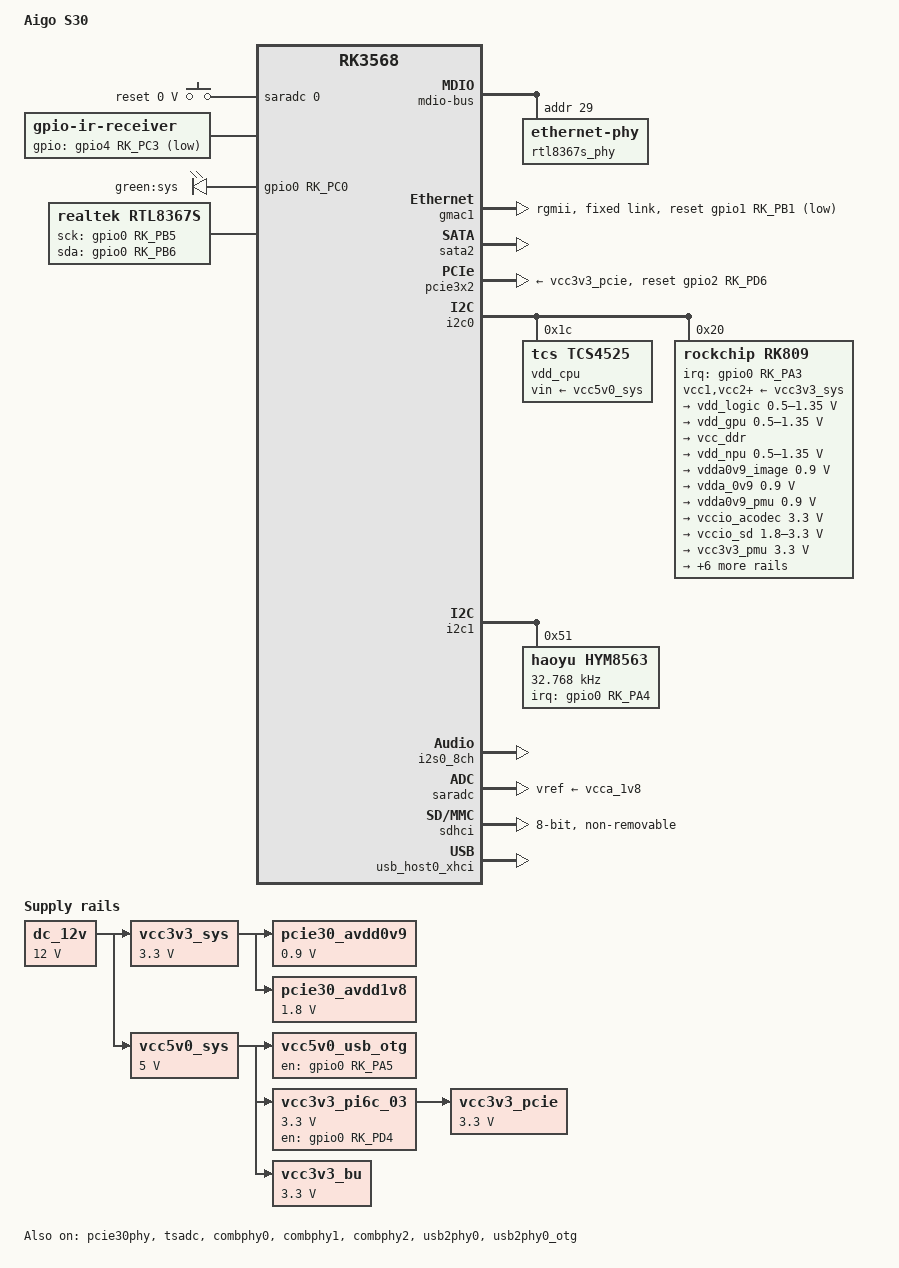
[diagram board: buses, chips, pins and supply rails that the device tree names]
// SPDX-License-Identifier: (GPL-2.0+ OR MIT)
/*
 * Copyright (c) 2020 Rockchip Electronics Co., Ltd.
 *
 */

/dts-v1/;

#include <dt-bindings/gpio/gpio.h>
#include <dt-bindings/input/input.h>
#include <dt-bindings/leds/common.h>
#include <dt-bindings/pinctrl/rockchip.h>
#include <rockchip/rk3568.dtsi>

#include "rk3568-ip.dtsi"
#include "rk3568-ramoops.dtsi"

/ {
	model = "Aigo S30";
	compatible = "linkfog,ala2", "rockchip,rk3568";

	/*
	 * iStoreOS 专有属性：eth_order 决定用户态/交换机端口命名顺序，
	 * hwmodel_id / kdebug 供 iStoreOS 机型识别与调试开关使用。
	 * 22.03 里这些由内核补丁或平台代码隐式给出，24.10 需在 DTS 中显式声明。
	 */
	eth_order = "fe2a0000.ethernet";
	kdebug = "0";
	hwmodel_id = "ALA2";
	/* 本机无 HDMI/显示输出，因此不声明 hw_support = "hdmi" */

	aliases {
		mmc0 = &sdhci;		/* eMMC */

		ethernet0 = &gmac1;	/* 交换机上联口 */
		/delete-property/ ethernet1;

		led-boot = &sys_led;
		led-failsafe = &sys_led;
		led-running = &sys_led;
		led-upgrade = &sys_led;
	};

	/* 24.10 用 chosen/stdout-path 取代厂商内核的 fiq-debugger */
	chosen: chosen {
		stdout-path = "serial2:1500000n8";
	};

	dc_12v: dc-12v {
		compatible = "regulator-fixed";
		regulator-name = "dc_12v";
		regulator-always-on;
		regulator-boot-on;
		regulator-min-microvolt = <12000000>;
		regulator-max-microvolt = <12000000>;
	};

	vcc3v3_sys: vcc3v3-sys {
		compatible = "regulator-fixed";
		regulator-name = "vcc3v3_sys";
		regulator-always-on;
		regulator-boot-on;
		regulator-min-microvolt = <3300000>;
		regulator-max-microvolt = <3300000>;
		vin-supply = <&dc_12v>;
	};

	vcc5v0_sys: vcc5v0-sys {
		compatible = "regulator-fixed";
		regulator-name = "vcc5v0_sys";
		regulator-always-on;
		regulator-boot-on;
		regulator-min-microvolt = <5000000>;
		regulator-max-microvolt = <5000000>;
		vin-supply = <&dc_12v>;
	};

	vcc5v0_usb_otg: vcc5v0-usb-otg {
		compatible = "regulator-fixed";
		enable-active-high;
		gpio = <&gpio0 RK_PA5 GPIO_ACTIVE_HIGH>;
		pinctrl-names = "default";
		pinctrl-0 = <&vcc5v0_otg_en>;
		regulator-name = "vcc5v0_usb_otg";
		vin-supply = <&vcc5v0_sys>;
	};

	pcie30_avdd0v9: pcie30-avdd0v9 {
		compatible = "regulator-fixed";
		regulator-name = "pcie30_avdd0v9";
		regulator-always-on;
		regulator-boot-on;
		regulator-min-microvolt = <900000>;
		regulator-max-microvolt = <900000>;
		vin-supply = <&vcc3v3_sys>;
	};

	pcie30_avdd1v8: pcie30-avdd1v8 {
		compatible = "regulator-fixed";
		regulator-name = "pcie30_avdd1v8";
		regulator-always-on;
		regulator-boot-on;
		regulator-min-microvolt = <1800000>;
		regulator-max-microvolt = <1800000>;
		vin-supply = <&vcc3v3_sys>;
	};

	vcc3v3_pi6c_03: vcc3v3-pi6c-03 {
		compatible = "regulator-fixed";
		regulator-name = "vcc3v3_pi6c_03";
		pinctrl-names = "default";
		pinctrl-0 = <&vcc3v3_pi6c_03_en>;
		regulator-always-on;
		regulator-boot-on;
		enable-active-high;
		regulator-min-microvolt = <3300000>;
		regulator-max-microvolt = <3300000>;
		vin-supply = <&vcc5v0_sys>;
		gpio = <&gpio0 RK_PD4 GPIO_ACTIVE_HIGH>;
	};

	vcc3v3_pcie: vcc3v3-pcie {
		compatible = "regulator-fixed";
		regulator-name = "vcc3v3_pcie";
		regulator-always-on;
		regulator-boot-on;
		regulator-min-microvolt = <3300000>;
		regulator-max-microvolt = <3300000>;
		vin-supply = <&vcc3v3_pi6c_03>;
	};

	vcc3v3_bu: vcc3v3-bu {
		compatible = "regulator-fixed";
		regulator-name = "vcc3v3_bu";
		regulator-always-on;
		regulator-boot-on;
		regulator-min-microvolt = <3300000>;
		regulator-max-microvolt = <3300000>;
		vin-supply = <&vcc5v0_sys>;
	};

	adc_keys: adc-keys {
		compatible = "adc-keys";
		io-channels = <&saradc 0>;
		io-channel-names = "buttons";
		keyup-threshold-microvolt = <1800000>;
		poll-interval = <100>;

		button-reset {
			label = "reset";
			linux,code = <KEY_RESTART>;
			press-threshold-microvolt = <9>;
		};
	};

	ir-receiver {
		compatible = "gpio-ir-receiver";
		gpios = <&gpio4 RK_PC3 GPIO_ACTIVE_LOW>;
		pinctrl-names = "default";
		pinctrl-0 = <&ir_receiver_pin>;
	};

	leds {
		compatible = "gpio-leds";
		pinctrl-names = "default";
		pinctrl-0 = <&led_sys>;

		sys_led: sys {
			gpios = <&gpio0 RK_PC0 GPIO_ACTIVE_HIGH>;
			label = "green:sys";
		};
	};

	/*
	 * RTL8367S 交换机（swconfig 驱动 kmod-switch-rtl8367b）。
	 * 22.03 与 24.10 使用同一个驱动包，绑定属性保持一致：
	 *   cpu_port / realtek,extifN / gpio-sck / gpio-sda / mdio-bus
	 * 其中 SMI 管理口通过 gpio0 PB5/PB6 软件模拟（见 gmac1_mdio_gpio）。
	 */
	rtl8367s {
		compatible = "realtek,rtl8367s", "realtek,rtl8367c", "realtek,rtl8367b";
		cpu_port = <7>;
		cpu-port = <7>;
		realtek,extif2 = <1 0 1 1 1 1 1 1 2>;
		pinctrl-names = "default";
		pinctrl-0 = <&gmac1_mdio_gpio>;
		gpio-sck = <&gpio0 RK_PB5 GPIO_ACTIVE_HIGH>;
		gpio-sda = <&gpio0 RK_PB6 GPIO_ACTIVE_HIGH>;

		mdio-bus {
			#address-cells = <1>;
			#size-cells = <0>;
			status = "okay";

			rtl8367s_phy: ethernet-phy@29 {
				reg = <29>;
				phy-mode = "rgmii";
			};
		};
	};
};

&cpu0 {
	cpu-supply = <&vdd_cpu>;
};

&cpu1 {
	cpu-supply = <&vdd_cpu>;
};

&cpu2 {
	cpu-supply = <&vdd_cpu>;
};

&cpu3 {
	cpu-supply = <&vdd_cpu>;
};

&gmac0 {
	status = "disabled";
};

&gmac1 {
	snps,reset-gpio = <&gpio1 RK_PB1 GPIO_ACTIVE_LOW>;
	snps,reset-active-low;
	snps,reset-delays-us = <0 20000 100000>;

	phy-mode = "rgmii";
	clock_in_out = "output";

	assigned-clocks = <&cru SCLK_GMAC1_RX_TX>, <&cru SCLK_GMAC1>;
	assigned-clock-parents = <&cru SCLK_GMAC1_RGMII_SPEED>, <&cru CLK_MAC1_2TOP>;
	assigned-clock-rates = <0>, <125000000>;

	pinctrl-names = "default";
	pinctrl-0 = <&gmac1m1_miim
		     &gmac1m1_tx_bus2
		     &gmac1m1_rx_bus2
		     &gmac1m1_rgmii_clk
		     &gmac1m1_rgmii_bus>;

	tx_delay = <0x4f>;
	rx_delay = <0x0f>;
	status = "okay";

	fixed-link {
		full-duplex;
		speed = <1000>;
		pause;
	};
};

/* SATA：0xfc800000 / combphy2（22.03 的 sata2 在新内核里同名保留） */
&sata2 {
	status = "okay";
};

&pcie30phy {
	phy-supply = <&vcc3v3_pi6c_03>;
	status = "okay";
};

&pcie3x1 {
	status = "disabled";
};

&pcie3x2 {
	reset-gpios = <&gpio2 RK_PD6 GPIO_ACTIVE_HIGH>;
	vpcie3v3-supply = <&vcc3v3_pcie>;
	status = "okay";
};

&i2c0 {
	status = "okay";

	vdd_cpu: regulator@1c {
		compatible = "tcs,tcs4525";
		reg = <0x1c>;
		fcs,suspend-voltage-selector = <1>;
		regulator-name = "vdd_cpu";
		regulator-always-on;
		regulator-boot-on;
		regulator-min-microvolt = <712500>;
		regulator-max-microvolt = <1150000>;
		regulator-ramp-delay = <2300>;
		vin-supply = <&vcc5v0_sys>;

		regulator-state-mem {
			regulator-off-in-suspend;
		};
	};

	rk809: pmic@20 {
		compatible = "rockchip,rk809";
		reg = <0x20>;
		interrupt-parent = <&gpio0>;
		interrupts = <RK_PA3 IRQ_TYPE_LEVEL_LOW>;
		#clock-cells = <1>;
		pinctrl-names = "default";
		pinctrl-0 = <&pmic_int>;
		rockchip,system-power-controller;
		wakeup-source;

		vcc1-supply = <&vcc3v3_sys>;
		vcc2-supply = <&vcc3v3_sys>;
		vcc3-supply = <&vcc3v3_sys>;
		vcc4-supply = <&vcc3v3_sys>;
		vcc5-supply = <&vcc3v3_sys>;
		vcc6-supply = <&vcc3v3_sys>;
		vcc7-supply = <&vcc3v3_sys>;
		vcc8-supply = <&vcc3v3_sys>;
		vcc9-supply = <&vcc3v3_sys>;

		regulators {
			vdd_logic: DCDC_REG1 {
				regulator-always-on;
				regulator-boot-on;
				regulator-min-microvolt = <500000>;
				regulator-max-microvolt = <1350000>;
				regulator-init-microvolt = <900000>;
				regulator-ramp-delay = <6001>;
				regulator-initial-mode = <0x2>;
				regulator-name = "vdd_logic";
				regulator-state-mem {
					regulator-off-in-suspend;
				};
			};

			vdd_gpu: DCDC_REG2 {
				regulator-always-on;
				regulator-boot-on;
				regulator-min-microvolt = <500000>;
				regulator-max-microvolt = <1350000>;
				regulator-init-microvolt = <900000>;
				regulator-ramp-delay = <6001>;
				regulator-initial-mode = <0x2>;
				regulator-name = "vdd_gpu";
				regulator-state-mem {
					regulator-off-in-suspend;
				};
			};

			vcc_ddr: DCDC_REG3 {
				regulator-always-on;
				regulator-boot-on;
				regulator-initial-mode = <0x2>;
				regulator-name = "vcc_ddr";
				regulator-state-mem {
					regulator-on-in-suspend;
				};
			};

			vdd_npu: DCDC_REG4 {
				regulator-always-on;
				regulator-boot-on;
				regulator-min-microvolt = <500000>;
				regulator-max-microvolt = <1350000>;
				regulator-init-microvolt = <900000>;
				regulator-ramp-delay = <6001>;
				regulator-initial-mode = <0x2>;
				regulator-name = "vdd_npu";
				regulator-state-mem {
					regulator-off-in-suspend;
				};
			};

			vdda0v9_image: LDO_REG1 {
				regulator-min-microvolt = <900000>;
				regulator-max-microvolt = <900000>;
				regulator-name = "vdda0v9_image";
				regulator-state-mem {
					regulator-off-in-suspend;
				};
			};

			vdda_0v9: LDO_REG2 {
				regulator-always-on;
				regulator-boot-on;
				regulator-min-microvolt = <900000>;
				regulator-max-microvolt = <900000>;
				regulator-name = "vdda_0v9";
				regulator-state-mem {
					regulator-off-in-suspend;
				};
			};

			vdda0v9_pmu: LDO_REG3 {
				regulator-always-on;
				regulator-boot-on;
				regulator-min-microvolt = <900000>;
				regulator-max-microvolt = <900000>;
				regulator-name = "vdda0v9_pmu";
				regulator-state-mem {
					regulator-on-in-suspend;
					regulator-suspend-microvolt = <900000>;
				};
			};

			vccio_acodec: LDO_REG4 {
				regulator-always-on;
				regulator-boot-on;
				regulator-min-microvolt = <3300000>;
				regulator-max-microvolt = <3300000>;
				regulator-name = "vccio_acodec";
				regulator-state-mem {
					regulator-off-in-suspend;
				};
			};

			vccio_sd: LDO_REG5 {
				regulator-always-on;
				regulator-boot-on;
				regulator-min-microvolt = <1800000>;
				regulator-max-microvolt = <3300000>;
				regulator-name = "vccio_sd";
				regulator-state-mem {
					regulator-off-in-suspend;
				};
			};

			vcc3v3_pmu: LDO_REG6 {
				regulator-always-on;
				regulator-boot-on;
				regulator-min-microvolt = <3300000>;
				regulator-max-microvolt = <3300000>;
				regulator-name = "vcc3v3_pmu";
				regulator-state-mem {
					regulator-on-in-suspend;
					regulator-suspend-microvolt = <3300000>;
				};
			};

			vcca_1v8: LDO_REG7 {
				regulator-always-on;
				regulator-boot-on;
				regulator-min-microvolt = <1800000>;
				regulator-max-microvolt = <1800000>;
				regulator-name = "vcca_1v8";
				regulator-state-mem {
					regulator-off-in-suspend;
				};
			};

			vcca1v8_pmu: LDO_REG8 {
				regulator-always-on;
				regulator-boot-on;
				regulator-min-microvolt = <1800000>;
				regulator-max-microvolt = <1800000>;
				regulator-name = "vcca1v8_pmu";
				regulator-state-mem {
					regulator-on-in-suspend;
					regulator-suspend-microvolt = <1800000>;
				};
			};

			vcca1v8_image: LDO_REG9 {
				regulator-min-microvolt = <1800000>;
				regulator-max-microvolt = <1800000>;
				regulator-name = "vcca1v8_image";
				regulator-state-mem {
					regulator-off-in-suspend;
				};
			};

			vcc_1v8: DCDC_REG5 {
				regulator-always-on;
				regulator-boot-on;
				regulator-min-microvolt = <1800000>;
				regulator-max-microvolt = <1800000>;
				regulator-name = "vcc_1v8";
				regulator-state-mem {
					regulator-off-in-suspend;
				};
			};

			vcc_3v3: SWITCH_REG1 {
				regulator-always-on;
				regulator-boot-on;
				regulator-name = "vcc_3v3";
				regulator-state-mem {
					regulator-off-in-suspend;
				};
			};

			vcc3v3_sd: SWITCH_REG2 {
				regulator-always-on;
				regulator-boot-on;
				regulator-name = "vcc3v3_sd";
				regulator-state-mem {
					regulator-off-in-suspend;
				};
			};
		};
	};
};

&i2c1 {
	status = "okay";

	hym8563: rtc@51 {
		compatible = "haoyu,hym8563";
		reg = <0x51>;
		#clock-cells = <0>;
		clock-frequency = <32768>;
		clock-output-names = "rtcic_32kout";
		interrupt-parent = <&gpio0>;
		interrupts = <RK_PA4 IRQ_TYPE_LEVEL_LOW>;
		wakeup-source;
		pinctrl-names = "default";
		pinctrl-0 = <&hym8563_int>;
	};
};

&i2s0_8ch {
	status = "okay";
};

&i2s1_8ch {
	status = "disabled";
	rockchip,clk-trcm = <1>;
	pinctrl-names = "default";
	pinctrl-0 = <&i2s1m0_sclktx
		     &i2s1m0_lrcktx
		     &i2s1m0_sdi0
		     &i2s1m0_sdo0>;
};

&saradc {
	status = "okay";
	vref-supply = <&vcca_1v8>;
};

&sdhci {
	bus-width = <8>;
	no-sdio;
	no-sd;
	non-removable;
	max-frequency = <200000000>;
	pinctrl-names = "default";
	pinctrl-0 = <&emmc_bus8 &emmc_clk &emmc_cmd>;
	status = "okay";
};

&tsadc {
	rockchip,hw-tshut-mode = <1>;
	rockchip,hw-tshut-polarity = <0>;
	status = "okay";
};

&pmu_io_domains {
	status = "okay";
	pmuio1-supply = <&vcc3v3_pmu>;
	pmuio2-supply = <&vcc3v3_pmu>;
	vccio1-supply = <&vcc_3v3>;
	vccio2-supply = <&vcc_1v8>;
	vccio3-supply = <&vcc_3v3>;
	vccio4-supply = <&vcc_1v8>;
	vccio5-supply = <&vcc_3v3>;
	vccio6-supply = <&vcc_3v3>;
	vccio7-supply = <&vcc_3v3>;
};

/* 复合 PHY：combphy0 供 USB3.0 OTG，combphy1 空闲，combphy2 供 SATA */
&combphy0 {
	status = "okay";
};

&combphy1 {
	status = "okay";
};

&combphy2 {
	status = "okay";
};

/* USB：仅保留 OTG（USB3.0/2.0），其余控制器与 PHY 关闭 */
&usb2phy0 {
	status = "okay";
};

&usb2phy0_host {
	status = "disabled";
};

&usb2phy0_otg {
	vbus-supply = <&vcc5v0_usb_otg>;
	status = "okay";
};

&usb2phy1 {
	status = "disabled";
};

&usb2phy1_host {
	status = "disabled";
};

&usb2phy1_otg {
	status = "disabled";
};

&usb_host0_xhci {
	extcon = <&usb2phy0>;
	status = "okay";
};

&usb_host1_xhci {
	status = "disabled";
};

&usb_host0_ehci {
	status = "disabled";
};

&usb_host0_ohci {
	status = "disabled";
};

&usb_host1_ehci {
	status = "disabled";
};

&usb_host1_ohci {
	status = "disabled";
};

/* 本机无显示输出：关闭 VOP/HDMI（22.03 里通过 rockchip-drm-vvop 提供虚拟 vop） */
&vop {
	status = "disabled";
	assigned-clocks = <&cru DCLK_VOP0>, <&cru DCLK_VOP1>;
	assigned-clock-parents = <&pmucru PLL_HPLL>, <&cru PLL_VPLL>;
};

&vop_mmu {
	status = "disabled";
};

&hdmi {
	avdd-0v9-supply = <&vdda0v9_image>;
	avdd-1v8-supply = <&vcca1v8_pmu>;
	status = "disabled";
};

&hdmi_sound {
	status = "disabled";
};

&pinctrl {
	pmic {
		pmic_int: pmic_int {
			rockchip,pins = <0 RK_PA3 RK_FUNC_GPIO &pcfg_pull_up>;
		};
	};

	hym8563 {
		hym8563_int: hym8563-int {
			rockchip,pins = <0 RK_PA4 RK_FUNC_GPIO &pcfg_pull_up>;
		};
	};

	usb {
		vcc5v0_otg_en: vcc5v0-otg-en {
			rockchip,pins = <0 RK_PA5 RK_FUNC_GPIO &pcfg_pull_none>;
		};
	};

	pcie {
		vcc3v3_pi6c_03_en: vcc3v3-pi6c-03-en {
			rockchip,pins = <0 RK_PD4 RK_FUNC_GPIO &pcfg_pull_none>;
		};
	};

	leds {
		led_sys: led-sys {
			rockchip,pins = <0 RK_PC0 RK_FUNC_GPIO &pcfg_pull_none>;
		};
	};

	ir-receiver {
		ir_receiver_pin: ir-receiver-pin {
			rockchip,pins = <4 RK_PC3 RK_FUNC_GPIO &pcfg_pull_none>;
		};
	};

	rtl8367s {
		gmac1_mdio_gpio: gmac1-mdio-gpio {
			rockchip,pins =
				/* gmac1_mdc */
				<0 RK_PB5 RK_FUNC_GPIO &pcfg_pull_none>,
				/* gmac1_mdio */
				<0 RK_PB6 RK_FUNC_GPIO &pcfg_pull_none>;
		};
	};
};

#include "rk3568-ip-rk809.dtsi"
